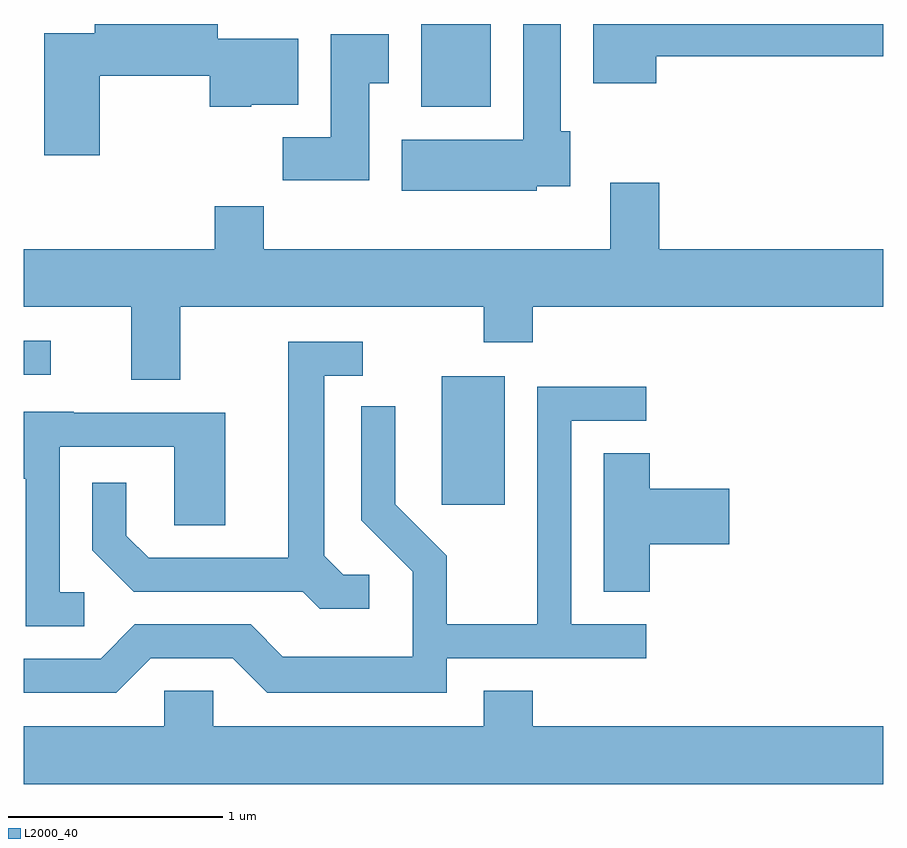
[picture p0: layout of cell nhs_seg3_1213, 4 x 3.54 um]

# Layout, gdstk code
import gdstk
lib = gdstk.Library(unit=1e-6, precision=1e-09)
def R(c, l, rs):  # rectangles x0, y0, x1, y1
    for r in rs: c.add(gdstk.rectangle(r[:2], r[2:], *l))
def P(c, l, *ps):  # polygons
    for p in ps: c.add(gdstk.Polygon(p, *l))
L2000_40 = (2000, 40)

nhs_seg3_1213 = lib.new_cell('nhs_seg3_1213')
R(nhs_seg3_1213, L2000_40, [(221.556,1231.656,221.849,1232.254), (219.611,1232.261,219.738,1232.419), (221.461,1233.506,221.784,1233.892)])
P(nhs_seg3_1213, L2000_40, [(222.554,1233.741),(223.611,1233.741),(223.611,1233.892),(222.261,1233.892),(222.261,1233.616),(222.554,1233.616)],
  [(221.999,1233.136),(222.154,1233.136),(222.154,1233.394),(222.109,1233.394),(222.109,1233.892),(221.936,1233.892),(221.936,1233.354),(221.371,1233.354),(221.371,1233.116),(221.999,1233.116)],
  [(219.964,1233.651),(220.476,1233.651),(220.476,1233.506),(220.67,1233.506),(220.67,1233.516),(220.889,1233.516),(220.889,1233.824),(220.514,1233.824),(220.514,1233.892),(219.941,1233.892),(219.941,1233.849),(219.706,1233.849),(219.706,1233.281),(219.964,1233.281)],
  [(221.219,1233.616),(221.309,1233.616),(221.309,1233.844),(221.041,1233.844),(221.041,1233.364),(220.816,1233.364),(220.816,1233.166),(221.219,1233.166)],
  [(220.339,1232.576),(221.751,1232.576),(221.751,1232.411),(221.979,1232.411),(221.979,1232.576),(223.611,1232.576),(223.611,1232.844),(222.569,1232.844),(222.569,1233.154),(222.341,1233.154),(222.341,1232.844),(220.729,1232.844),(220.729,1233.044),(220.501,1233.044),(220.501,1232.844),(219.611,1232.844),(219.611,1232.576),(220.111,1232.576),(220.111,1232.236),(220.339,1232.236)],
  [(221.218,1231.329),(221.097,1231.329),(221.009,1231.417),(221.009,1232.256),(221.188,1232.256),(221.188,1232.414),(220.841,1232.414),(220.841,1231.409),(220.192,1231.409),(220.089,1231.512),(220.089,1231.758),(219.931,1231.758),(219.931,1231.444),(220.124,1231.251),(220.909,1231.251),(220.989,1231.171),(221.218,1231.171)],
  [(220.202,1230.941),(220.584,1230.941),(220.744,1230.781),(221.579,1230.781),(221.579,1230.941),(222.508,1230.941),(222.508,1231.099),(222.159,1231.099),(222.159,1232.046),(222.508,1232.046),(222.508,1232.204),(222.001,1232.204),(222.001,1231.099),(221.579,1231.099),(221.579,1231.417),(221.339,1231.657),(221.339,1232.113),(221.181,1232.113),(221.181,1231.584),(221.421,1231.344),(221.421,1230.949),(220.817,1230.949),(220.667,1231.099),(220.129,1231.099),(219.969,1230.939),(219.611,1230.939),(219.611,1230.781),(220.042,1230.781)],
  [(219.893,1231.249),(219.779,1231.249),(219.779,1231.926),(220.311,1231.926),(220.311,1231.561),(220.549,1231.561),(220.549,1232.084),(219.845,1232.084),(219.845,1232.089),(219.611,1232.089),(219.611,1231.776),(219.621,1231.776),(219.621,1231.091),(219.893,1231.091)],
  [(222.524,1231.471),(222.894,1231.471),(222.894,1231.729),(222.524,1231.729),(222.524,1231.894),(222.311,1231.894),(222.311,1231.251),(222.524,1231.251)],
  [(223.611,1230.624),(221.979,1230.624),(221.979,1230.789),(221.751,1230.789),(221.751,1230.624),(220.494,1230.624),(220.494,1230.789),(220.266,1230.789),(220.266,1230.624),(219.611,1230.624),(219.611,1230.356),(223.611,1230.356)])

lib.write_gds('nhs_seg3_1213.gds')
